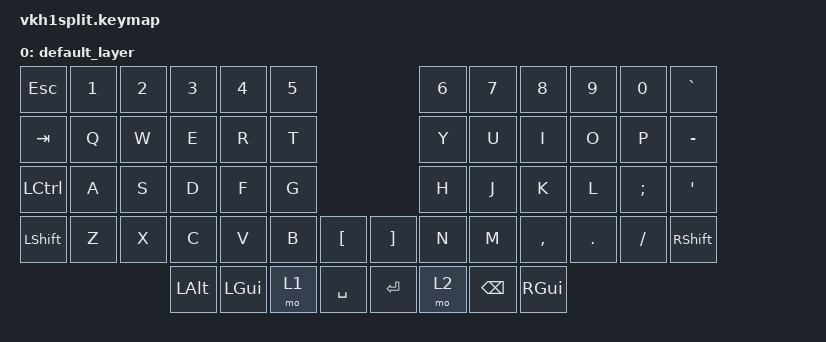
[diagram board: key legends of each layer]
// This file was generated from a template. Edit it to match your keyboard.
// See https://zmk.dev/docs/development/hardware-integration/new-shield for more instructions.

#include <behaviors.dtsi>
#include <dt-bindings/zmk/keys.h>

/ {
    // Define a default keymap here.
    // See https://zmk.dev/docs/development/hardware-integration/new-shield#default-keymap.
    keymap {
        compatible = "zmk,keymap";

        default_layer {
            // https://github.com/zmkfirmware/zmk/blob/main/app/boards/shields/lily58/lily58.keymap
            bindings = <
                &kp ESC   &kp N1 &kp N2 &kp N3   &kp N4   &kp N5                     &kp N6 &kp N7   &kp N8    &kp N9  &kp N0   &kp GRAVE
                &kp TAB   &kp Q  &kp W  &kp E    &kp R    &kp T                      &kp Y  &kp U    &kp I     &kp O   &kp P    &kp MINUS
                &kp LCTRL &kp A  &kp S  &kp D    &kp F    &kp G                      &kp H  &kp J    &kp K     &kp L   &kp SEMI &kp SQT
                &kp LSHFT &kp Z  &kp X  &kp C    &kp V    &kp B  &kp LBKT   &kp RBKT &kp N  &kp M    &kp COMMA &kp DOT &kp FSLH &kp RSHFT
                                        &kp LALT &kp LGUI &mo 1  &kp SPACE  &kp RET  &mo 2  &kp BSPC &kp RGUI
            >;
        };
    };
};
